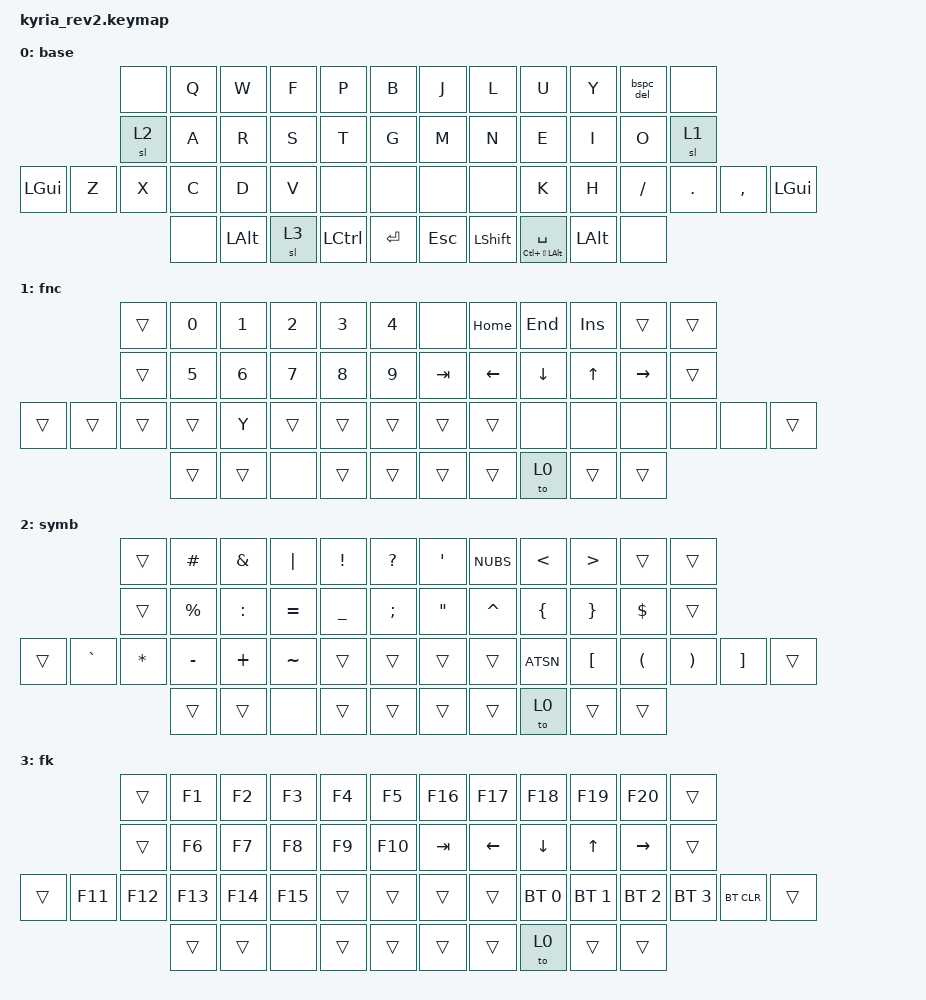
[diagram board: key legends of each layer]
#include <behaviors.dtsi>
#include <dt-bindings/zmk/bt.h>
#include <dt-bindings/zmk/keys.h>
#include <dt-bindings/zmk/mouse.h>
#include <behaviors/mouse_keys.dtsi>

#define ZMK_MOUSE_DEFAULT_MOVE_VAL 1400
#define ZMK_MOUSE_DEFAULT_SCRL_VAL 100

// unpair and re-pair the keyboard for it to be recognised as a pointer device as well.


&mt {
    flavor = "tap-preferred";
    tapping_term_ms = <200>;
};

&mmv {
   time-to-max-speed-ms = <100>; // Pretty understandable
   acceleration-exponent=<2>; // if 0 it always goes at max speed, otherwise higher exponent more quickly it reaches max speed

    /*
     *if (duration_ms > config->time_to_max_speed_ms || config->time_to_max_speed_ms == 0 ||
     *       config->acceleration_exponent == 0) {
     *       return max_speed;
     *   }
     *   float time_fraction = (float)duration_ms / config->time_to_max_speed_ms;
     *   return max_speed * powf(time_fraction, config->acceleration_exponent);
     *   The exponent is usually set to 0 for constant speed, 1 for uniform acceleration or 2 for uniform jerk.
    */
};

/*
&msc SCRL_RIGHT &msc SCRL_LEFT  &msc SCRL_DOWN  &msc SCRL_UP
&mkp MB2  &mmv MOVE_LEFT &mmv MOVE_DOWN &mmv MOVE_UP &mmv MOVE_RIGHT
*/

&msc {
     time-to-max-speed-ms = <100>;
    acceleration-exponent = <2>;
};

&sl {
    ignore-modifiers;
};

/ {
    behaviors {
        hm: homerow_mods {
            compatible = "zmk,behavior-hold-tap";
            label = "HOMEROW_MODS";
            #binding-cells = <2>;
            tapping-term-ms = <200>;
            quick_tap_ms = <0>;
            flavor = "tap-preferred";
            bindings = <&kp>, <&kp>;
        };

        td: tapdance {
            compatible = "zmk,behavior-hold-tap";
            label = "TAPDANCE";
            #binding-cells = <2>;
            tapping-term-ms = <150>;
            quick_tap_ms = <0>;
            flavor = "tap-preferred";
            bindings = <&kp>, <&kp>;
        };

        bspc_del: backspace_delete {
            compatible = "zmk,behavior-mod-morph";
            #binding-cells = <0>;
            bindings = <&kp BACKSPACE>, <&kp DELETE>;
            mods = <(MOD_LSFT|MOD_RSFT)>;
            keep-mods = <(MOD_RSFT)>;
        };

        lyr1: sticky_to_layer1 {
            compatible = "zmk,behavior-mod-morph";
            #binding-cells = <0>;
            bindings = <&sl 1>, <&to 1>;
            mods = <(MOD_LSFT|MOD_RSFT)>;
            keep-mods = <(MOD_RSFT)>;
        };
    };

/*
    combos {
        compatible = "zmk,combos";
        to_symbol_layer_sticky {
            timeout-ms = <5000>;
            key-positions = <42 47>;
            bindings = <&sl 2>;
        };

        to_func_layer_sticky {
            timeout-ms = <5000>;
            key-positions = <15 42>;
            bindings = <&sl 3>;
        };
    };
*/

    keymap {
        compatible = "zmk,keymap";

        base_layer {
            // ---------------------------------------------------------------------------------------------------------------------------------
            // |  Q  |  W  |  F   |  P   |  T   |                                          |  J   |  L    |  U    |  Y   | BKSPC |  //  |
            // |  A  |  R  |  S   |  T   |  G   |                                          |  M   |  N    |  E    |  I   |   O   |  //  |
            // |  Z  |  X  |  C   |  D   |  V   |  //  |  //  |              |  //  |  //  |  K   |  H    |  /    |  .   |   ,   |  //  |
            //                     | //  | //  | LYR  |  SHIFT  |  ESC  |    |  RET  |  CTRL  | TAB  | //  | // |

            bindings = <
&none  &kp Q  &kp W  &kp F  &kp P  &kp B                                                      &kp J      &kp L  &kp U     &kp Y    &bspc_del   &none
&sl 2  &kp A  &kp R  &kp S  &kp T  &kp G                                                        &kp M  &kp N  &kp E     &kp I    &kp O   &sl 1
&kp LGUI  &kp Z  &kp X  &kp C  &kp D  &kp V              &none  &none      &none  &none             &kp K      &kp H  &kp FSLH  &kp DOT  &kp COMMA  &kp LGUI
                     &none  &kp LALT  &sl 3  &kp LCTRL  &kp ENTER  &kp ESC  &kp LSHIFT  &mt LC(LS(LALT)) SPC  &kp LALT  &none
            >;

            label = "base";
        };

        functional_layer {
            // ---------------------------------------------------------------------------------------------------------------------------------
            // |  Q  |  W  |  F   |  P   |  T   |                                          |  Y   |  U    |  I    |  O   |   P   |  //  |
            // |  A  |  S  |  D   |  F   |  G   |                                          |  H   |  J    |  K    |  L   |   ;   |  //  |
            // |  Z  |  X  |  C   |  D   |  V   |  //  |  //  |              |  //  |  //  |  N   |  M    |  ,    |  .   |   /   |  //  |
            //                     | GUI  | DEL  | RET  |  SPACE  |   ESC   |  |   RET   |  SPACE  | TAB  | BSPC  | R-ALT |

            bindings = <
&trans  &kp N0 &kp N1  &kp N2  &kp N3  &kp N4                                              &none &kp HOME  &kp END  &kp INS  &trans &trans 
&trans  &kp N5 &kp N6 &kp N7  &kp N8  &kp N9                                              &kp TAB &kp LEFT  &kp DOWN  &kp UP  &kp RIGHT  &trans 
&trans  &trans &trans &trans  &kp Y  &trans          &trans  &trans   &trans  &trans          &none  &none &none &none &none  &trans
           &trans  &trans  &none  &trans  &trans                              &trans  &trans  &to 0  &trans  &trans
            >;

            label = "fnc";
        };

        symbol_layer {
            // ---------------------------------------------------------------------------------------------------------------------------------
            // |  Q  |  W  |  F   |  P   |  T   |                                          |  Y   |  U    |  I    |  O   |   P   |  //  |
            // |  A  |  S  |  D   |  F   |  G   |                                          |  H   |  J    |  K    |  L   |   ;   |  //  |
            // |  Z  |  X  |  C   |  D   |  V   |  //  |  //  |              |  //  |  //  |  N   |  M    |  ,    |  .   |   /   |  //  |
            //                     | GUI  | DEL  | RET  |  SPACE  |   ESC   |  |   RET   |  SPACE  | TAB  | BSPC  | R-ALT |

            bindings = <
&trans  &kp HASH   &kp AMPS  &kp PIPE  &kp EXCL  &kp QMARK                                                       &kp SQT &kp NUBS  &kp LT   &kp GT   &trans   &trans
&trans  &kp PRCNT  &kp COLON  &kp EQUAL &kp UNDER &kp SEMI                                            &kp DQT &kp CARET &kp LBRC &kp RBRC &kp DLLR &trans
&trans  &kp GRAVE  &kp STAR &kp MINUS &kp PLUS   &kp TILDE          &trans  &trans  &trans  &trans          &kp ATSN &kp LBKT  &kp LPRN &kp RPRN &kp RBKT &trans
                            &trans    &trans    &none    &trans  &trans                      &trans  &trans  &to 0     &trans    &trans
            >;

            label = "symb";
        };


        f_layer {
            // ---------------------------------------------------------------------------------------------------------------------------------
            // |  Q  |  W  |  F   |  P   |  T   |                                          |  Y   |  U    |  I    |  O   |   P   |  //  | 
            // |  A  |  S  |  D   |  F   |  G   |                                          |  H   |  J    |  K    |  L   |   ;   |  //  |
            // |  Z  |  X  |  C   |  D   |  V   |  //  |  //  |              |  //  |  //  |  N   |  M    |  ,    |  .   |   /   |  //  |
            //                     | GUI  | DEL  | RET  |  SPACE  |   ESC   |  |   RET   |  SPACE  | TAB  | BSPC  | R-ALT |

            bindings = <
&trans  &kp F1  &kp F2  &kp F3  &kp F4  &kp F5                                               &kp F16  &kp F17  &kp F18  &kp F19  &kp F20  &trans
&trans  &kp F6  &kp F7  &kp F8  &kp F9  &kp F10                                                &kp TAB &kp LEFT  &kp DOWN  &kp UP  &kp RIGHT  &trans
&trans  &kp F11  &kp F12  &kp F13  &kp F14  &kp F15      &trans  &trans  &trans  &trans      &bt BT_SEL 0  &bt BT_SEL 1  &bt BT_SEL 2  &bt BT_SEL 3  &bt BT_CLR &trans
                         &trans  &trans   &none  &trans  &trans          &trans  &trans  &to 0  &trans  &trans
            >;

            label = "fk";
        };

    };
};
